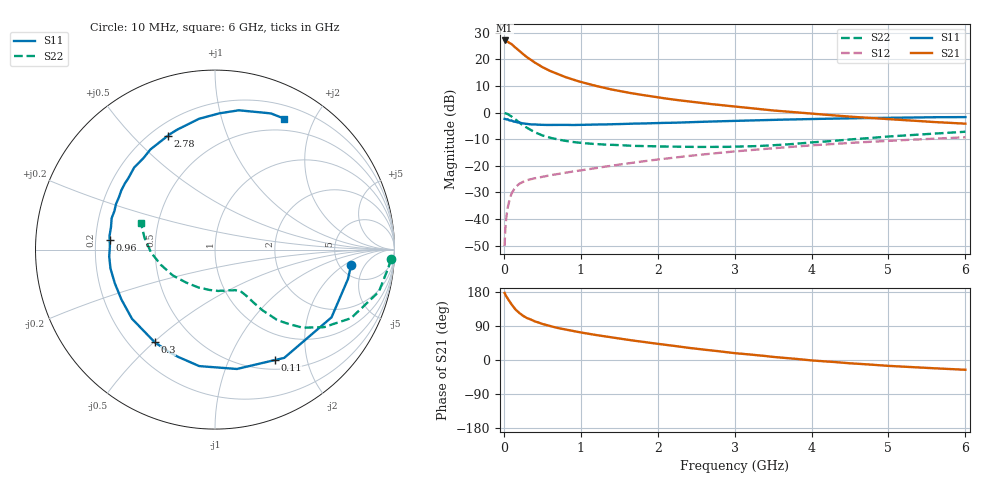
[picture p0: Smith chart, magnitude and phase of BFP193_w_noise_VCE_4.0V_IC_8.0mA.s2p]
! Infineon Technologies  Discrete & RF Semiconductors
! BFP193
! VCE = 4.0 V,  IC =  8.0 mA
! Common Emitter S-Parameters:  Jan 2016
# GHz  S  MA  R  50
!  f  S11  S21  S12  S22
! GHz  MAG  ANG  MAG  ANG  MAG  ANG  MAG  ANG
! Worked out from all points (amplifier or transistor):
!   210 points, 10 MHz to 6 GHz, reference 50 ohm
!   highest |S21| = 27.1 dB at 10 MHz (marker M1)
!   |S21| within 3 dB of that: start of sweep to 164.3 MHz
!   unconditionally stable (mu >= 1): 1.087 GHz to 3.55 GHz
!   at 185 MHz: K = 0.28, MSG = 25.4 dB, |S12| = -27.1 dB
!   at 1.52 GHz: K = 1.08, MAG = 12.0 dB, |S12| = -19.4 dB
!   at 6 GHz: K = 0.90, MSG = 2.6 dB, |S12| = -9.3 dB
!   lowest NFmin = 1.25 dB at 450 MHz
!   S11 on the Smith chart (normalised r, x): 10 MHz: 6.40, -2.57; 110 MHz: 0.62, -1.49; 300 MHz: 0.30, -0.50; 960 MHz: 0.26, +0.04; 2.78 GHz: 0.26, +0.63; 6 GHz: 0.35, +1.60
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0.01  0.7633 -6.3  22.73 177.0  0.0031 85.5  0.9813 -3.0
0.02  0.7589 -12.4  22.14 172.1  0.0067 81.9  0.9718 -5.8
0.05  0.751 -30.2  21.55 161.8  0.0163 75.7  0.9427 -14.4
0.1  0.716 -57.4  19.44 146.5  0.0301 63.4  0.8492 -26.7
0.11  0.6999 -61.6  18.83 144.2  0.0319 61.3  0.8271 -28.3
0.15  0.6762 -79.6  16.75 133.5  0.0396 55.1  0.7459 -35.4
0.2  0.655 -97.7  14.6 124.1  0.0459 49.3  0.654 -41.7
0.24  0.6322 -108.8  12.96 118.1  0.0493 45.7  0.5902 -44.9
0.3  0.6159 -123.0  11.03 110.7  0.0538 42.8  0.5188 -48.7
0.4  0.6019 -140.2  8.783 102.1  0.0584 40.5  0.4301 -51.9
0.5  0.5909 -151.9  7.178 95.2  0.0621 39.8  0.3737 -53.7
0.6  0.5889 -161.5  6.096 89.5  0.0665 40.0  0.3383 -54.8
0.7  0.5918 -169.8  5.301 84.5  0.0699 40.6  0.3139 -55.7
0.96  0.5892 174.8  3.931 74.2  0.0807 42.8  0.2747 -58.4
1.02  0.5923 171.6  3.711 72.0  0.0831 43.3  0.2692 -59.2
1.4  0.6072 155.4  2.725 59.8  0.1003 45.3  0.2492 -65.6
2.02  0.6418 134.0  1.921 42.2  0.1329 45.3  0.2317 -80.6
2.78  0.687 112.6  1.408 23.4  0.1745 41.5  0.226 -104.9
3.1  0.7054 105.3  1.256 16.4  0.1922 39.1  0.231 -116.5
4.1  0.7642 86.5  0.934 -2.5  0.2483 30.4  0.282 -152.2
5.1  0.8028 72.5  0.741 -16.5  0.3005 20.0  0.3634 -179.9
6  0.8255 62.2  0.621 -25.8  0.3444 10.0  0.4381 160.4
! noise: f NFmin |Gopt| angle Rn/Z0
0.45  1.25  0.23  133  0.12
0.9  1.3  0.35  156  0.11
1.8  2  0.55  -155  0.13
